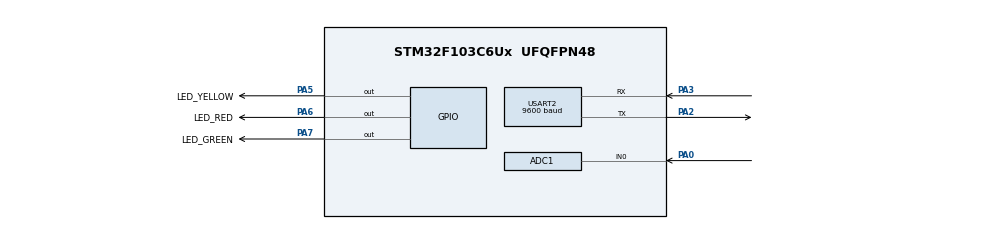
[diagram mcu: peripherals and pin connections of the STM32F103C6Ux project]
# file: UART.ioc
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ADC1.Channel-0\#ChannelRegularConversion=ADC_CHANNEL_0
ADC1.ContinuousConvMode=ENABLE
ADC1.NbrOfConversionFlag=1
ADC1.Rank-0\#ChannelRegularConversion=1
ADC1.SamplingTime-0\#ChannelRegularConversion=ADC_SAMPLETIME_1CYCLE_5
ADC1.master=1
Mcu.Family=STM32F1
Mcu.Name=STM32F103C6Ux
Mcu.Package=UFQFPN48
NVIC.PriorityGroup=NVIC_PRIORITYGROUP_4
NVIC.TIM2_IRQn=true\:0\:0\:false\:false\:true\:true\:true
NVIC.USART2_IRQn=true\:0\:0\:false\:false\:true\:true\:true
PA0-WKUP.Signal=ADCx_IN0
PA2.Mode=Asynchronous
PA2.Signal=USART2_TX
PA3.Mode=Asynchronous
PA3.Signal=USART2_RX
PA5.GPIO_Label=LED_YELLOW
PA5.Signal=GPIO_Output
PA6.GPIO_Label=LED_RED
PA6.Signal=GPIO_Output
PA7.GPIO_Label=LED_GREEN
PA7.Signal=GPIO_Output
ProjectManager.HeapSize=0x200
ProjectManager.StackSize=0x400
ProjectManager.TargetToolchain=STM32CubeIDE
RCC.APB1Freq_Value=8000000
RCC.APB2Freq_Value=8000000
SH.ADCx_IN0.0=ADC1_IN0,IN0
TIM2.Period=9
TIM2.Prescaler=7999
USART2.BaudRate=9600
USART2.VirtualMode=VM_ASYNC
VP_SYS_VS_ND.Mode=No_Debug
VP_TIM2_VS_ClockSourceINT.Mode=Internal
board=custom

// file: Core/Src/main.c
/* USER CODE BEGIN Header */
/**
  ******************************************************************************
  * @file           : main.c
  * @brief          : Main program body
  ******************************************************************************
  * @attention
  *
  * <h2><center>&copy; Copyright (c) 2023 STMicroelectronics.
  * All rights reserved.</center></h2>
  *
  * This software component is licensed by ST under BSD 3-Clause license,
  * the "License"; You may not use this file except in compliance with the
  * License. You may obtain a copy of the License at:
  *                        opensource.org/licenses/BSD-3-Clause
  *
  ******************************************************************************
  */
/* USER CODE END Header */
#include "main.h"

/* USER CODE BEGIN Includes */
#include "global.h"
//#include "software_timer.h"
#include <stdio.h>
#include <string.h>
#include "uart_communication_fsm.h"
#include "scheduler.h"
/* USER CODE END Includes */

ADC_HandleTypeDef hadc1;

TIM_HandleTypeDef htim2;

UART_HandleTypeDef huart2;

void SystemClock_Config(void);
static void MX_GPIO_Init(void);
static void MX_ADC1_Init(void);
static void MX_USART2_UART_Init(void);
static void MX_TIM2_Init(void);

/* USER CODE BEGIN 0 */

void HAL_UART_RxCpltCallback(UART_HandleTypeDef *huart){
	if(huart->Instance == USART2){
		HAL_UART_Transmit(&huart2,&temp,1,50);
		HAL_UART_Receive_IT(&huart2, &temp, 1);
		switch (temp) {
			case ' ':
				break;
			case '\b':
				buffer[index_buffer - 1] = 0;
				index_buffer--;
				break;
			default:
				buffer[index_buffer++] = temp;
				buffer_flag = 1;
				break;
		}

  }
}
void SCH_Go_To_Sleep() {
	HAL_SuspendTick();
	HAL_PWR_EnterSLEEPMode(PWR_MAINREGULATOR_ON, PWR_SLEEPENTRY_WFI);
	HAL_ResumeTick();
}
void LedToggle (){
	  HAL_GPIO_TogglePin(LED_YELLOW_GPIO_Port, LED_YELLOW_Pin);
  }
  void command_parser_fsm_func (){
	  if(buffer_flag == 1) {
	  		  command_parser_fsm ();
	  		  buffer_flag =0;
	  	}
  }
  void uart_func () {
	  uart_communication_fsm();
  }
/* USER CODE END 0 */

int main(void)
{

  /* MCU Configuration--------------------------------------------------------*/

  /* Reset of all peripherals, Initializes the Flash interface and the Systick. */
  HAL_Init();

  /* Configure the system clock */
  SystemClock_Config();

  /* Initialize all configured peripherals */
  MX_GPIO_Init();
  MX_ADC1_Init();
  MX_USART2_UART_Init();
  MX_TIM2_Init();
  /* USER CODE BEGIN 2 */
  HAL_ADC_Start(&hadc1);
  HAL_TIM_Base_Start_IT (&htim2 );
  //HAL_UART_Receive(&huart2, &temp, 1, 10);
  HAL_UART_Receive_IT (&huart2 , &temp , 1);
  /* USER CODE END 2 */

  /* Infinite loop */
  /* USER CODE BEGIN WHILE */
//  setTimer1(100);
//  setTimer2(10);
//  setTimer3(10);
//  setTimer4(10);

  command_state = IDLE;
  status_UART = COMMAND_WATING;
  SCH_Add_Task(LedToggle, 10, 100);
  SCH_Add_Task(uart_func, 1, 10);
  SCH_Add_Task(command_parser_fsm_func, 1, 15);
  while (1)
  {
	  SCH_Dispatch_Tasks();
	  SCH_Go_To_Sleep();
  }
  /* USER CODE END 3 */
}

void SystemClock_Config(void)
{
  RCC_OscInitTypeDef RCC_OscInitStruct = {0};
  RCC_ClkInitTypeDef RCC_ClkInitStruct = {0};
  RCC_PeriphCLKInitTypeDef PeriphClkInit = {0};

  /** Initializes the RCC Oscillators according to the specified parameters
  * in the RCC_OscInitTypeDef structure.
  */
  RCC_OscInitStruct.OscillatorType = RCC_OSCILLATORTYPE_HSI;
  RCC_OscInitStruct.HSIState = RCC_HSI_ON;
  RCC_OscInitStruct.HSICalibrationValue = RCC_HSICALIBRATION_DEFAULT;
  RCC_OscInitStruct.PLL.PLLState = RCC_PLL_NONE;
  if (HAL_RCC_OscConfig(&RCC_OscInitStruct) != HAL_OK)
  {
    Error_Handler();
  }
  /** Initializes the CPU, AHB and APB buses clocks
  */
  RCC_ClkInitStruct.ClockType = RCC_CLOCKTYPE_HCLK|RCC_CLOCKTYPE_SYSCLK
                              |RCC_CLOCKTYPE_PCLK1|RCC_CLOCKTYPE_PCLK2;
  RCC_ClkInitStruct.SYSCLKSource = RCC_SYSCLKSOURCE_HSI;
  RCC_ClkInitStruct.AHBCLKDivider = RCC_SYSCLK_DIV1;
  RCC_ClkInitStruct.APB1CLKDivider = RCC_HCLK_DIV1;
  RCC_ClkInitStruct.APB2CLKDivider = RCC_HCLK_DIV1;

  if (HAL_RCC_ClockConfig(&RCC_ClkInitStruct, FLASH_LATENCY_0) != HAL_OK)
  {
    Error_Handler();
  }
  PeriphClkInit.PeriphClockSelection = RCC_PERIPHCLK_ADC;
  PeriphClkInit.AdcClockSelection = RCC_ADCPCLK2_DIV2;
  if (HAL_RCCEx_PeriphCLKConfig(&PeriphClkInit) != HAL_OK)
  {
    Error_Handler();
  }
}

static void MX_ADC1_Init(void)
{

  ADC_ChannelConfTypeDef sConfig = {0};

  /** Common config
  */
  hadc1.Instance = ADC1;
  hadc1.Init.ScanConvMode = ADC_SCAN_DISABLE;
  hadc1.Init.ContinuousConvMode = ENABLE;
  hadc1.Init.DiscontinuousConvMode = DISABLE;
  hadc1.Init.ExternalTrigConv = ADC_SOFTWARE_START;
  hadc1.Init.DataAlign = ADC_DATAALIGN_RIGHT;
  hadc1.Init.NbrOfConversion = 1;
  if (HAL_ADC_Init(&hadc1) != HAL_OK)
  {
    Error_Handler();
  }
  /** Configure Regular Channel
  */
  sConfig.Channel = ADC_CHANNEL_0;
  sConfig.Rank = ADC_REGULAR_RANK_1;
  sConfig.SamplingTime = ADC_SAMPLETIME_1CYCLE_5;
  if (HAL_ADC_ConfigChannel(&hadc1, &sConfig) != HAL_OK)
  {
    Error_Handler();
  }

}

static void MX_TIM2_Init(void)
{

  TIM_ClockConfigTypeDef sClockSourceConfig = {0};
  TIM_MasterConfigTypeDef sMasterConfig = {0};

  htim2.Instance = TIM2;
  htim2.Init.Prescaler = 7999;
  htim2.Init.CounterMode = TIM_COUNTERMODE_UP;
  htim2.Init.Period = 9;
  htim2.Init.ClockDivision = TIM_CLOCKDIVISION_DIV1;
  htim2.Init.AutoReloadPreload = TIM_AUTORELOAD_PRELOAD_DISABLE;
  if (HAL_TIM_Base_Init(&htim2) != HAL_OK)
  {
    Error_Handler();
  }
  sClockSourceConfig.ClockSource = TIM_CLOCKSOURCE_INTERNAL;
  if (HAL_TIM_ConfigClockSource(&htim2, &sClockSourceConfig) != HAL_OK)
  {
    Error_Handler();
  }
  sMasterConfig.MasterOutputTrigger = TIM_TRGO_RESET;
  sMasterConfig.MasterSlaveMode = TIM_MASTERSLAVEMODE_DISABLE;
  if (HAL_TIMEx_MasterConfigSynchronization(&htim2, &sMasterConfig) != HAL_OK)
  {
    Error_Handler();
  }

}

static void MX_USART2_UART_Init(void)
{

  huart2.Instance = USART2;
  huart2.Init.BaudRate = 9600;
  huart2.Init.WordLength = UART_WORDLENGTH_8B;
  huart2.Init.StopBits = UART_STOPBITS_1;
  huart2.Init.Parity = UART_PARITY_NONE;
  huart2.Init.Mode = UART_MODE_TX_RX;
  huart2.Init.HwFlowCtl = UART_HWCONTROL_NONE;
  huart2.Init.OverSampling = UART_OVERSAMPLING_16;
  if (HAL_UART_Init(&huart2) != HAL_OK)
  {
    Error_Handler();
  }

}

static void MX_GPIO_Init(void)
{
  GPIO_InitTypeDef GPIO_InitStruct = {0};

  /* GPIO Ports Clock Enable */
  __HAL_RCC_GPIOA_CLK_ENABLE();

  /*Configure GPIO pin Output Level */
  HAL_GPIO_WritePin(GPIOA, LED_YELLOW_Pin|LED_RED_Pin|LED_GREEN_Pin, GPIO_PIN_RESET);

  /*Configure GPIO pins : LED_YELLOW_Pin LED_RED_Pin LED_GREEN_Pin */
  GPIO_InitStruct.Pin = LED_YELLOW_Pin|LED_RED_Pin|LED_GREEN_Pin;
  GPIO_InitStruct.Mode = GPIO_MODE_OUTPUT_PP;
  GPIO_InitStruct.Pull = GPIO_NOPULL;
  GPIO_InitStruct.Speed = GPIO_SPEED_FREQ_LOW;
  HAL_GPIO_Init(GPIOA, &GPIO_InitStruct);

}

/* USER CODE BEGIN 4 */
void HAL_TIM_PeriodElapsedCallback(TIM_HandleTypeDef *htim){
	//timerRun();
	SCH_Update();

}
/* USER CODE END 4 */

void Error_Handler(void)
{
  __disable_irq();
  while (1)
  {
  }
}

/************************ (C) COPYRIGHT STMicroelectronics *****END OF FILE****/
